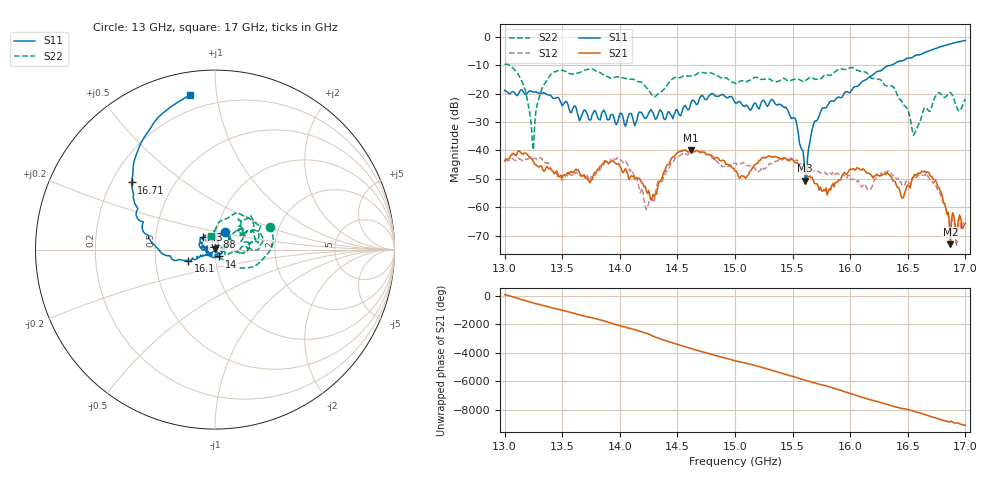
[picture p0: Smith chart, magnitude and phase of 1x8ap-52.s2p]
!Keysight Technologies,P9374A,MY57211807,A.19.30.04
!Date: Friday, May 08, 2026 15:46:26
!Correction: S11(C  2-Port  )
!S21(C  2-Port  )
!S12(C  2-Port  )
!S22(C  2-Port  )
!S2P File: Measurements: S11, S21, S12, S22:
# Hz S  dB  R 50
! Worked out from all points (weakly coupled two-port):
!   401 points, 13 GHz to 17 GHz, reference 50 ohm
!   highest |S21| = -39.82 dB at 14.62 GHz (marker M1); lowest = -73.1 dB at 16.87 GHz (marker M2)
!   lowest |S11| = -50.7 dB at 15.61 GHz (marker M3), VSWR 1.01, Z = 49.9 + j0.254 ohm
!   |S11| at or under -10 dB: start of sweep to 16.35 GHz
!   |S22| runs from -39.8 to -9.5 dB; largest |S21 - S12| = 0.0034
!   S11 on the Smith chart (normalised r, x): 13 GHz: 1.10, +0.22; 14 GHz: 1.05, -0.08; 14.88 GHz: 0.87, +0.12; 16.1 GHz: 0.74, -0.10; 16.71 GHz: 0.28, +0.33; 17 GHz: 0.12, +0.84
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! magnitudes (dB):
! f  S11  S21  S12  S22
! 13 GHz  -18.8  -43.7  -43.3  -9.5
! 13.16 GHz  -19.2  -41.4  -43.7  -16.5
! 13.24 GHz  -19.2  -43.2  -43.2  -36.1
! 13.4 GHz  -20.6  -46.4  -46.3  -13.2
! 13.67 GHz  -27.6  -48.7  -48.8  -12.2
! 14 GHz  -27.0  -45.5  -43.3  -14.2
! 14.23 GHz  -28.5  -54.2  -60.9  -17.8
! 14.34 GHz  -26.4  -50.9  -50.9  -19.7
! 14.62 GHz  -23.0  -39.8  -40.3  -13.6
! 14.88 GHz  -20.5  -43.6  -45.3  -14.4
! 15 GHz  -23.2  -47.2  -44.6  -16.2
! 15.44 GHz  -24.7  -42.6  -42.7  -14.9
! 15.53 GHz  -29.5  -44.5  -43.5  -14.8
! 15.61 GHz  -50.7  -46.1  -45.0  -15.4
! 15.67 GHz  -32.5  -49.5  -46.9  -14.3
! 16.1 GHz  -15.8  -46.8  -52.9  -12.3
! 16.34 GHz  -10.1  -48.6  -47.4  -17.1
! 16.46 GHz  -8.3  -56.8  -52.4  -23.7
! 16.56 GHz  -6.6  -48.4  -48.6  -33.8
! 16.71 GHz  -4.5  -49.3  -51.0  -24.2
! 16.87 GHz  -2.4  -73.1  -66.4  -19.6
! 17 GHz  -1.2  -65.6  -64.1  -21.8
